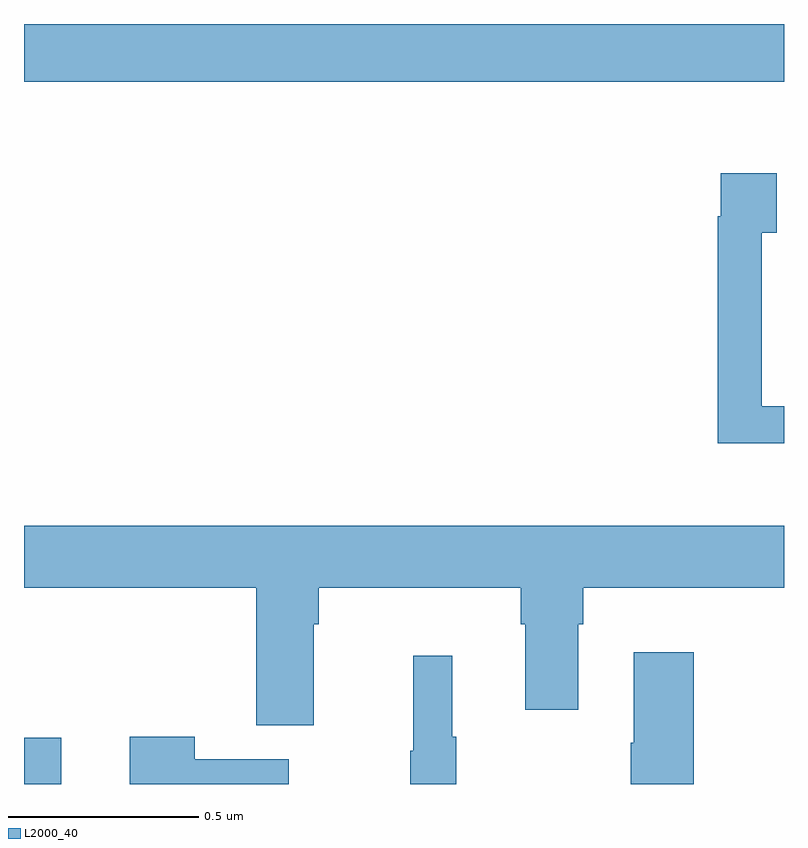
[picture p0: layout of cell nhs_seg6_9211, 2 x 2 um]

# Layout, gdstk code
import gdstk
lib = gdstk.Library(unit=1e-6, precision=1e-09)
def R(c, l, rs):  # rectangles x0, y0, x1, y1
    for r in rs: c.add(gdstk.rectangle(r[:2], r[2:], *l))
def P(c, l, *ps):  # polygons
    for p in ps: c.add(gdstk.Polygon(p, *l))
L2000_40 = (2000, 40)

nhs_seg6_9211 = lib.new_cell('nhs_seg6_9211')
R(nhs_seg6_9211, L2000_40, [(231,933.5,231.098,933.622), (231,935.348,233,935.5)])
P(nhs_seg6_9211, L2000_40, [(233,934.494),(232.941,934.494),(232.941,934.951),(232.981,934.951),(232.981,935.107),(232.833,935.107),(232.833,934.994),(232.825,934.994),(232.825,934.397),(233,934.397)],
  [(231,934.016),(231.611,934.016),(231.611,933.654),(231.763,933.654),(231.763,933.92),(231.776,933.92),(231.776,934.016),(232.307,934.016),(232.307,933.92),(232.319,933.92),(232.319,933.696),(232.459,933.696),(232.459,933.92),(232.472,933.92),(232.472,934.016),(233,934.016),(233,934.18),(231,934.18)],
  [(232.763,933.847),(232.604,933.847),(232.604,933.608),(232.597,933.608),(232.597,933.5),(232.763,933.5)],
  [(232.138,933.625),(232.127,933.625),(232.127,933.838),(232.024,933.838),(232.024,933.588),(232.017,933.588),(232.017,933.5),(232.138,933.5)],
  [(231.697,933.565),(231.449,933.565),(231.449,933.625),(231.278,933.625),(231.278,933.5),(231.697,933.5)])

lib.write_gds('nhs_seg6_9211.gds')
